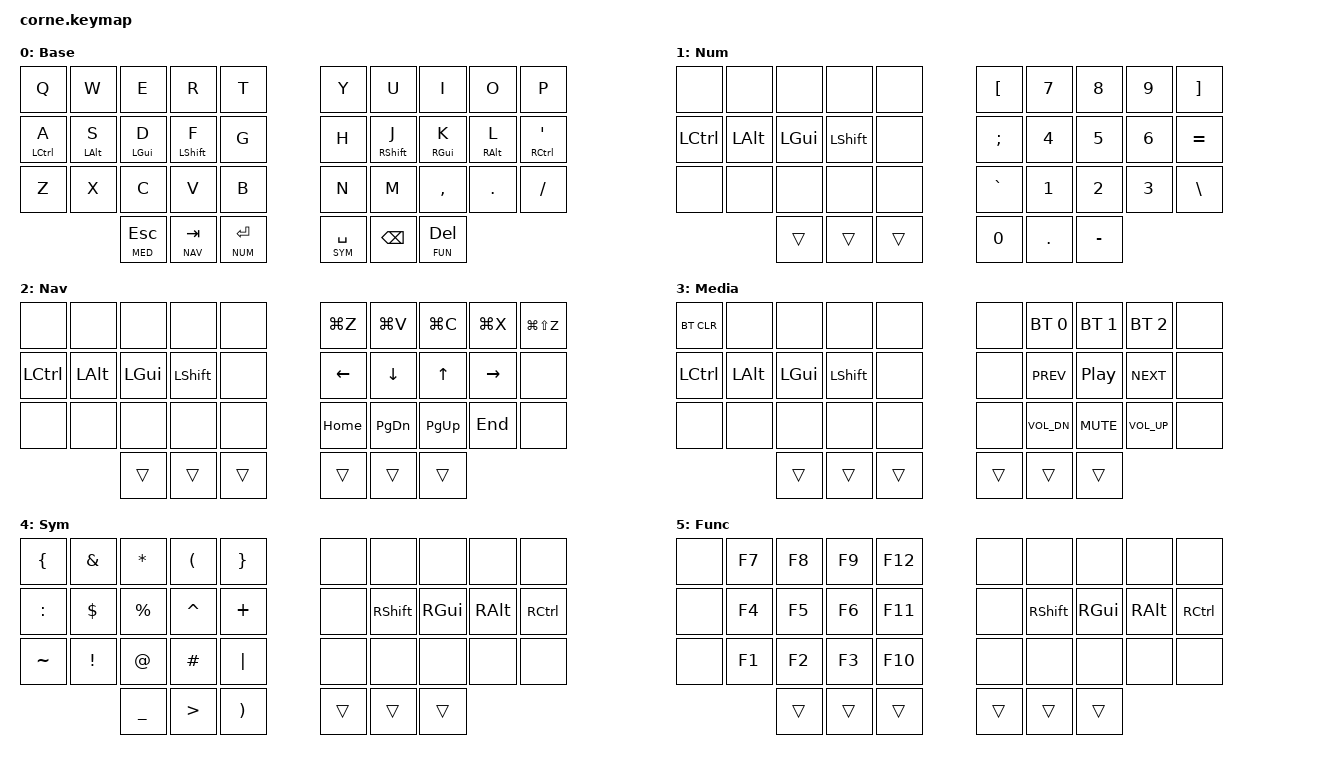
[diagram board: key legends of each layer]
/*
 * Copyright (c) 2020 The ZMK Contributors
 * SPDX-License-Identifier: MIT
 */

#include <behaviors.dtsi>
#include <dt-bindings/zmk/keys.h>
#include <dt-bindings/zmk/bt.h>
#include "includes/combos.dtsi"
#include "includes/behaviors.dtsi"

#define BASE 0
#define NUM 1
#define NAV 2
#define MED 3
#define SYM 4
#define FUN 5
#define CMK 6

/ {

  keymap {
    compatible = "zmk,keymap";

    base {
      label = "Base";
      // +---+---+---+---+---+     +---+---+---+---+---+
      // | Q | W | E | R | T |     | Y | U | I | O | P |
      // +---+---+---+---+---+     +---+---+---+---+---+
      // | A | S | D | F | G |     | H | J | K | L | ' |
      //  ctr alt gui shf               shf gui alt ctr
      // +---+---+---+---+---+     +---+---+---+---+---+
      // | Z | X | C | V | B |     | N | M | , | . | / |
      // +---+---+---+---+---+     +---+---+---+---+---+
      //         |ESC|TAB|ENT|     |SPC|BKS|DEL|
      //          med nav num       sym     fun
      bindings = <
        &kp Q       &kp W      &kp E       &kp R        &kp T            &kp Y         &kp U        &kp I       &kp O      &kp P
        &hm LCTRL A &hm LALT S &hm LGUI D  &hm LSHIFT F &kp G            &kp H         &hm RSHIFT J &hm RGUI K  &hm RALT L &hm RCTRL SQT
        &kp Z       &kp X      &kp C       &kp V        &kp B            &kp N         &kp M        &kp COMMA   &kp DOT    &kp FSLH
                               &lt MED ESC &lt NAV TAB  &lt NUM RET      &lt SYM SPACE &kp BSPC     &lt FUN DEL
      >;
    };

    num {
      label = "Num";
      // +---+---+---+---+---+     +---+---+---+---+---+
      // |   |   |   |   |   |     | [ | 7 | 8 | 9 | ] |
      // +---+---+---+---+---+     +---+---+---+---+---+
      // |CTR|ALT|GUI|SHF|   |     | ; | 4 | 5 | 6 | = |
      // +---+---+---+---+---+     +---+---+---+---+---+
      // |   |   |   |   |   |     | ` | 1 | 2 | 3 | \ |
      // +---+---+---+---+---+     +---+---+---+---+---+
      //         |   |   |   |     | 0 | . | - |
      //         +---+---+---+     +---+---+---+
      bindings = <
        &none     &none    &none    &none     &none      &kp LBKT  &kp N7  &kp N8 &kp N9 &kp RBKT 
        &kp LCTRL &kp LALT &kp LGUI &kp LSHFT &none      &kp SEMI  &kp N4  &kp N5 &kp N6 &kp EQUAL
        &none     &none    &none    &none     &none      &kp GRAVE &kp N1  &kp N2 &kp N3 &kp BSLH 
                           &trans   &trans    &trans     &kp N0    &kp DOT &kp MINUS
      >;
    };

    nav {
      label = "Nav";
      // +---+---+---+---+---+     +---+---+---+---+---+
      // |   |   |   |   |   |     |UND|PST|CPY|CUT|RDO|
      // +---+---+---+---+---+     +---+---+---+---+---+
      // |CTR|ALT|CTR|SHF|   |     |LFT|DWN|UP |RGT|   |
      // +---+---+---+---+---+     +---+---+---+---+---+
      // |   |   |   |   |   |     |HME|PGD|PGU|END|   |
      // +---+---+---+---+---+     +---+---+---+---+---+
      //         |   |   |   |     |   |   |   |
      //         +---+---+---+     +---+---+---+
      bindings = <
        &none     &none    &none    &none     &none       &kp LG(Z) &kp LG(V) &kp LG(C) &kp LG(X) &kp LG(LS(Z))
        &kp LCTRL &kp LALT &kp LGUI &kp LSHFT &none       &kp LEFT  &kp DOWN  &kp UP    &kp RIGHT &none
        &none     &none    &none    &none     &none       &kp HOME  &kp PG_DN &kp PG_UP &kp END   &none
                           &trans   &trans    &trans      &trans    &trans    &trans
      >;
    };

    med {
      label = "Media";
      // +---+---+---+---+---+     +---+---+---+---+---+
      // |BCL|   |   |   |   |     |   |BT0|BT1|BT2|   |
      // +---+---+---+---+---+     +---+---+---+---+---+
      // |CTR|ALT|GUI|SHF|   |     |   |PRV|PLY|NXT|   |
      // +---+---+---+---+---+     +---+---+---+---+---+
      // |   |   |   |   |   |     |   |VO-|VMT|VO+|   |
      // +---+---+---+---+---+     +---+---+---+---+---+
      //         |   |   |   |     |   |   |   |
      //         +---+---+---+     +---+---+---+
      bindings = <
        &bt BT_CLR &none    &none    &none     &none       &none  &bt BT_SEL 0 &bt BT_SEL 1 &bt BT_SEL 2 &none
        &kp LCTRL  &kp LALT &kp LGUI &kp LSHFT &none       &none  &kp C_PREV   &kp C_PP     &kp C_NEXT   &none
        &none      &none    &none    &none     &none       &none  &kp C_VOL_DN &kp C_MUTE   &kp C_VOL_UP &none
                            &trans   &trans    &trans      &trans &trans       &trans
      >;
    };

    sym {
      label = "Sym";
      // +---+---+---+---+---+     +---+---+---+---+---+
      // | { | & | * | ( | } |     |   |   |   |   |   |
      // +---+---+---+---+---+     +---+---+---+---+---+
      // | : | $ | % | ^ | + |     |   |SHF|CTR|ALT|SUP|
      // +---+---+---+---+---+     +---+---+---+---+---+
      // | ~ | ! | @ | # | | |     |   |   |   |   |   |
      // +---+---+---+---+---+     +---+---+---+---+---+
      //         | _ | > | ) |     |   |   |   |
      //         +---+---+---+     +---+---+---+
      bindings = <
        &kp LBRC  &kp AMPS   &kp ASTRK   &kp LPAR  &kp RBRC      &none    &none     &none    &none    &none
        &kp COLON &kp DOLLAR &kp PERCENT &kp CARET &kp PLUS      &none    &kp RSHFT &kp RGUI &kp RALT &kp RCTRL
        &kp TILDE &kp EXCL   &kp AT      &kp HASH  &kp PIPE      &none    &none     &none    &none    &none
                             &kp UNDER   &kp GT    &kp RPAR      &trans   &trans    &trans 
      >;
    };

    fun {
      label = "Func";
      // +---+---+---+---+---+     +---+---+---+---+---+
      // |   |F7 |F8 |F9 |F12|     |   |   |   |   |   |
      // +---+---+---+---+---+     +---+---+---+---+---+
      // |   |F4 |F5 |F6 |F11|     |   |SHF|GUI|ALT|CTR|
      // +---+---+---+---+---+     +---+---+---+---+---+
      // |   |F1 |F2 |F3 |F10|     |   |   |   |   |   |
      // +---+---+---+---+---+     +---+---+---+---+---+
      //         |   |   |   |     |   |   |   |
      //         +---+---+---+     +---+---+---+
      bindings = <
        &none &kp F7 &kp F8 &kp F9 &kp F12      &none  &none     &none    &none    &none
        &none &kp F4 &kp F5 &kp F6 &kp F11      &none  &kp RSHFT &kp RGUI &kp RALT &kp RCTRL
        &none &kp F1 &kp F2 &kp F3 &kp F10      &none  &none     &none    &none    &none
                     &trans &trans &trans       &trans &trans    &trans
      >;
    };

  };
};
